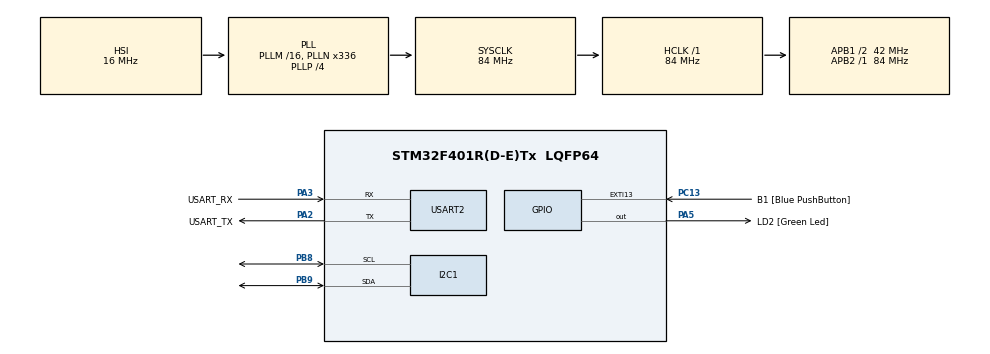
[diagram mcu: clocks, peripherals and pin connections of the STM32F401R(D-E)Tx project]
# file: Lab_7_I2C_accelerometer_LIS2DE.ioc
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Mcu.Family=STM32F4
Mcu.Name=STM32F401R(D-E)Tx
Mcu.Package=LQFP64
NVIC.PriorityGroup=NVIC_PRIORITYGROUP_0
PA13.GPIO_Label=TMS
PA13.Mode=Serial_Wire
PA13.Signal=SYS_JTMS-SWDIO
PA14.GPIO_Label=TCK
PA14.Mode=Serial_Wire
PA14.Signal=SYS_JTCK-SWCLK
PA2.GPIO_Label=USART_TX
PA2.GPIO_Mode=GPIO_MODE_AF_PP
PA2.GPIO_PuPd=GPIO_NOPULL
PA2.GPIO_Speed=GPIO_SPEED_FREQ_LOW
PA2.Mode=Asynchronous
PA2.Signal=USART2_TX
PA3.GPIO_Label=USART_RX
PA3.GPIO_Mode=GPIO_MODE_AF_PP
PA3.GPIO_PuPd=GPIO_NOPULL
PA3.GPIO_Speed=GPIO_SPEED_FREQ_LOW
PA3.Mode=Asynchronous
PA3.Signal=USART2_RX
PA5.GPIO_Label=LD2 [Green Led]
PA5.GPIO_Mode=GPIO_MODE_OUTPUT_PP
PA5.GPIO_PuPd=GPIO_NOPULL
PA5.GPIO_Speed=GPIO_SPEED_FREQ_LOW
PA5.Signal=GPIO_Output
PB3.GPIO_Label=SWO
PB3.Signal=SYS_JTDO-SWO
PB8.Mode=I2C
PB8.Signal=I2C1_SCL
PB9.Mode=I2C
PB9.Signal=I2C1_SDA
PC13-ANTI_TAMP.GPIO_Label=B1 [Blue PushButton]
PC13-ANTI_TAMP.GPIO_ModeDefaultEXTI=GPIO_MODE_IT_FALLING
PC13-ANTI_TAMP.GPIO_PuPd=GPIO_NOPULL
PC13-ANTI_TAMP.Signal=GPXTI13
PC14-OSC32_IN.Mode=LSE-External-Oscillator
PC14-OSC32_IN.Signal=RCC_OSC32_IN
PC15-OSC32_OUT.Mode=LSE-External-Oscillator
PC15-OSC32_OUT.Signal=RCC_OSC32_OUT
PH0\ -\ OSC_IN.Mode=HSE-External-Clock-Source
PH0\ -\ OSC_IN.Signal=RCC_OSC_IN
PH1\ -\ OSC_OUT.Mode=HSE-External-Clock-Source
PH1\ -\ OSC_OUT.Signal=RCC_OSC_OUT
ProjectManager.HeapSize=0x200
ProjectManager.StackSize=0x400
ProjectManager.TargetToolchain=STM32CubeIDE
RCC.48MHZClocksFreq_Value=48000000
RCC.AHBFreq_Value=84000000
RCC.APB1CLKDivider=RCC_HCLK_DIV2
RCC.APB1Freq_Value=42000000
RCC.APB1TimFreq_Value=84000000
RCC.APB2Freq_Value=84000000
RCC.APB2TimFreq_Value=84000000
RCC.CortexFreq_Value=84000000
RCC.HCLKFreq_Value=84000000
RCC.HSE_VALUE=8000000
RCC.HSI_VALUE=16000000
RCC.PLLN=336
RCC.PLLP=RCC_PLLP_DIV4
RCC.PLLQ=7
RCC.SYSCLKFreq_VALUE=84000000
RCC.SYSCLKSource=RCC_SYSCLKSOURCE_PLLCLK
RCC.VCOOutputFreq_Value=336000000
USART2.VirtualMode=VM_ASYNC
board=NUCLEO-F401RE

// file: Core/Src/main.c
/* USER CODE BEGIN Header */
/**
  ******************************************************************************
  * @file           : main.c
  * @brief          : Main program body
  ******************************************************************************
  * @attention
  *
  * Copyright (c) 2023 STMicroelectronics.
  * All rights reserved.
  *
  * This software is licensed under terms that can be found in the LICENSE file
  * in the root directory of this software component.
  * If no LICENSE file comes with this software, it is provided AS-IS.
  *
  ******************************************************************************
  */
/* USER CODE END Header */
#include "main.h"

I2C_HandleTypeDef hi2c1;

UART_HandleTypeDef huart2;

/* USER CODE BEGIN PV */
//LIS2DE
uint8_t ACCEL_ADD = 0b01010000;

//LIS2DE12
uint8_t LIS2DE12_ADD = 0b00110000;

//reg address, 1hz + XYZ enabled
uint8_t CTRL_REG1[] = {0x20, 0b00010111};

//reg address, no HPF (default value at startup)
uint8_t CTRL_REG2[] = {0x21, 0b00000000};

//reg address, continuous update +2G fsr + self test disabled
uint8_t CTRL_REG4[] = {0x23, 0b00000000};

//addresses of the axis acceleration redisters
uint8_t OUT_X_ADD= 0x29;
uint8_t OUT_Y_ADD =0x2B;
uint8_t OUT_Z_ADD =0x2D;

/* USER CODE END PV */

void SystemClock_Config(void);
static void MX_GPIO_Init(void);
static void MX_USART2_UART_Init(void);
static void MX_I2C1_Init(void);

int main(void)
{

  /* MCU Configuration--------------------------------------------------------*/

  /* Reset of all peripherals, Initializes the Flash interface and the Systick. */
  HAL_Init();

  /* Configure the system clock */
  SystemClock_Config();

  /* Initialize all configured peripherals */
  MX_GPIO_Init();
  MX_USART2_UART_Init();
  MX_I2C1_Init();
  /* USER CODE BEGIN 2 */
  char str[64];
  int len=0;

  //initialize accelerometer
  if(HAL_I2C_Master_Transmit(&hi2c1, ACCEL_ADD, CTRL_REG1, sizeof(CTRL_REG1), 20)==HAL_OK){
	  len=snprintf(str,sizeof(str),"LIS2DE found\r\n");
  }
  else{
	  ACCEL_ADD=LIS2DE12_ADD;
	  if(HAL_I2C_Master_Transmit(&hi2c1, ACCEL_ADD, CTRL_REG1, sizeof(CTRL_REG1), 20)==HAL_OK){
		  len=snprintf(str,sizeof(str),"LIS2DE12 found\r\n");
	  }
	  else{
		  len=snprintf(str,sizeof(str),"accelerometer error\r\n");

	  }
  }
  HAL_UART_Transmit(&huart2, str, len, 100);

  HAL_I2C_Master_Transmit(&hi2c1, ACCEL_ADD, CTRL_REG2, sizeof(CTRL_REG2), 50);
  HAL_I2C_Master_Transmit(&hi2c1, ACCEL_ADD, CTRL_REG4, sizeof(CTRL_REG4), 50);

  /* USER CODE END 2 */

  /* Infinite loop */
  while (1)
  {

	  //GET X
	  int8_t acc_x = 0;
	  HAL_I2C_Master_Transmit(&hi2c1, ACCEL_ADD, &OUT_X_ADD, 1, 50);
	  HAL_I2C_Master_Receive(&hi2c1, ACCEL_ADD+1, &acc_x, 1, 50);

	  //GET Y
	  int8_t acc_y = 0;
	  HAL_I2C_Master_Transmit(&hi2c1, ACCEL_ADD, &OUT_Y_ADD, 1, 50);
	  HAL_I2C_Master_Receive(&hi2c1, ACCEL_ADD+1, &acc_y, 1, 50);

	  //GET Z
	  int8_t acc_z = 0;
	  HAL_I2C_Master_Transmit(&hi2c1, ACCEL_ADD, &OUT_Z_ADD, 1, 50);
	  HAL_I2C_Master_Receive(&hi2c1, ACCEL_ADD+1, &acc_z, 1, 50);

	  float acc_g_x = acc_x/64.0;
	  float acc_g_y = acc_y/64.0;
	  float acc_g_z = acc_z/64.0;

	  int len = snprintf(str, sizeof(str), "X: %+.2f g\r\nY: %.2f g\r\nZ: %+.2f g\r\n",acc_g_x,acc_g_y,acc_g_z);
	  HAL_UART_Transmit(&huart2, str, len, 100);
	  HAL_Delay(1000);
  }
}

void SystemClock_Config(void)
{
  RCC_OscInitTypeDef RCC_OscInitStruct = {0};
  RCC_ClkInitTypeDef RCC_ClkInitStruct = {0};

  /** Configure the main internal regulator output voltage
  */
  __HAL_RCC_PWR_CLK_ENABLE();
  __HAL_PWR_VOLTAGESCALING_CONFIG(PWR_REGULATOR_VOLTAGE_SCALE2);

  /** Initializes the RCC Oscillators according to the specified parameters
  * in the RCC_OscInitTypeDef structure.
  */
  RCC_OscInitStruct.OscillatorType = RCC_OSCILLATORTYPE_HSI;
  RCC_OscInitStruct.HSIState = RCC_HSI_ON;
  RCC_OscInitStruct.HSICalibrationValue = RCC_HSICALIBRATION_DEFAULT;
  RCC_OscInitStruct.PLL.PLLState = RCC_PLL_ON;
  RCC_OscInitStruct.PLL.PLLSource = RCC_PLLSOURCE_HSI;
  RCC_OscInitStruct.PLL.PLLM = 16;
  RCC_OscInitStruct.PLL.PLLN = 336;
  RCC_OscInitStruct.PLL.PLLP = RCC_PLLP_DIV4;
  RCC_OscInitStruct.PLL.PLLQ = 7;
  if (HAL_RCC_OscConfig(&RCC_OscInitStruct) != HAL_OK)
  {
    Error_Handler();
  }

  /** Initializes the CPU, AHB and APB buses clocks
  */
  RCC_ClkInitStruct.ClockType = RCC_CLOCKTYPE_HCLK|RCC_CLOCKTYPE_SYSCLK
                              |RCC_CLOCKTYPE_PCLK1|RCC_CLOCKTYPE_PCLK2;
  RCC_ClkInitStruct.SYSCLKSource = RCC_SYSCLKSOURCE_PLLCLK;
  RCC_ClkInitStruct.AHBCLKDivider = RCC_SYSCLK_DIV1;
  RCC_ClkInitStruct.APB1CLKDivider = RCC_HCLK_DIV2;
  RCC_ClkInitStruct.APB2CLKDivider = RCC_HCLK_DIV1;

  if (HAL_RCC_ClockConfig(&RCC_ClkInitStruct, FLASH_LATENCY_2) != HAL_OK)
  {
    Error_Handler();
  }
}

static void MX_I2C1_Init(void)
{

  hi2c1.Instance = I2C1;
  hi2c1.Init.ClockSpeed = 100000;
  hi2c1.Init.DutyCycle = I2C_DUTYCYCLE_2;
  hi2c1.Init.OwnAddress1 = 0;
  hi2c1.Init.AddressingMode = I2C_ADDRESSINGMODE_7BIT;
  hi2c1.Init.DualAddressMode = I2C_DUALADDRESS_DISABLE;
  hi2c1.Init.OwnAddress2 = 0;
  hi2c1.Init.GeneralCallMode = I2C_GENERALCALL_DISABLE;
  hi2c1.Init.NoStretchMode = I2C_NOSTRETCH_DISABLE;
  if (HAL_I2C_Init(&hi2c1) != HAL_OK)
  {
    Error_Handler();
  }

}

static void MX_USART2_UART_Init(void)
{

  huart2.Instance = USART2;
  huart2.Init.BaudRate = 115200;
  huart2.Init.WordLength = UART_WORDLENGTH_8B;
  huart2.Init.StopBits = UART_STOPBITS_1;
  huart2.Init.Parity = UART_PARITY_NONE;
  huart2.Init.Mode = UART_MODE_TX_RX;
  huart2.Init.HwFlowCtl = UART_HWCONTROL_NONE;
  huart2.Init.OverSampling = UART_OVERSAMPLING_16;
  if (HAL_UART_Init(&huart2) != HAL_OK)
  {
    Error_Handler();
  }

}

static void MX_GPIO_Init(void)
{
  GPIO_InitTypeDef GPIO_InitStruct = {0};

  /* GPIO Ports Clock Enable */
  __HAL_RCC_GPIOC_CLK_ENABLE();
  __HAL_RCC_GPIOH_CLK_ENABLE();
  __HAL_RCC_GPIOA_CLK_ENABLE();
  __HAL_RCC_GPIOB_CLK_ENABLE();

  /*Configure GPIO pin Output Level */
  HAL_GPIO_WritePin(LD2_GPIO_Port, LD2_Pin, GPIO_PIN_RESET);

  /*Configure GPIO pin : B1_Pin */
  GPIO_InitStruct.Pin = B1_Pin;
  GPIO_InitStruct.Mode = GPIO_MODE_IT_FALLING;
  GPIO_InitStruct.Pull = GPIO_NOPULL;
  HAL_GPIO_Init(B1_GPIO_Port, &GPIO_InitStruct);

  /*Configure GPIO pin : LD2_Pin */
  GPIO_InitStruct.Pin = LD2_Pin;
  GPIO_InitStruct.Mode = GPIO_MODE_OUTPUT_PP;
  GPIO_InitStruct.Pull = GPIO_NOPULL;
  GPIO_InitStruct.Speed = GPIO_SPEED_FREQ_LOW;
  HAL_GPIO_Init(LD2_GPIO_Port, &GPIO_InitStruct);

}

void Error_Handler(void)
{
  __disable_irq();
  while (1)
  {
  }
}
